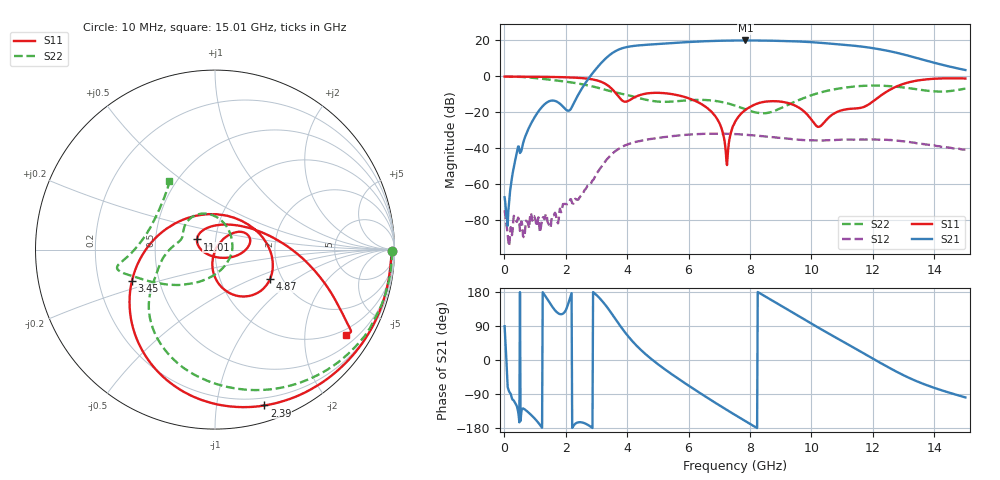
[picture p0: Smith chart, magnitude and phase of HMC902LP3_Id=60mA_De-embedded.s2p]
! Hittite Microwave Corporation
! 20 Alpha Road
! Chelmsford, MA 01824
! http://www.hittite.com
! Tel: 978-250-3343
! Fax: 978-250-3373
! Device:  HMC902LP3E
! Description: GaAs pHEMT MMIC Low Noise Amplifier
! Frequency:  5.00 -  10.00 GHz
! Package:  LP3  - 3x3 mm Quad Flatpack No-Lead (QFN) Plastic Package: 16 pin
! Ports:  2 RF, 4 DC
!  Pin  3 = RF In  = Port 1
!  Pin  5 = Vgg1 (Optional)
!  Pin  6 = Vgg2 (Optional)
!  Pin 10 = RF Out  = Port 2
!  Pin 14 = Vdd2
!  Pin 15 = Vdd1
! Voltages:  Vdd  = Vdd1 = Vdd2 = +3.50  Volts
!  Idd  = Idd1 + Idd2 = 60.30  mA
!  Vgg  = Vgg1 = Vgg2 = -0.26  Volts
!  Igg  = Igg1 + Igg2 = -0.07  mA
! Data:  The device was measured on evaluation board 128395.
!  Data was collected using a calibrated network analyzer.
!  The evaluation circuit board was modeled and simulated.  This was use
!  to removed the evaluation board circuit from the measured data.
!  The reference plane is the edge of the package pin.
! Misc:
! Date Measured:  2010-08-30
! Date:  2010-09-07 MJV
! Note:
!  Hittite supplies this data as a sample of measured data at the package pin for
!  for this package product.  Your particular data for this product may vary.
!  Data was taken at 25 degrees C.
!  Hittite reserves the right to change this data at anytime.
# GHz S MA R 50
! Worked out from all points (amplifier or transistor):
!   751 points, 10 MHz to 15.01 GHz, reference 50 ohm
!   highest |S21| = 20.0 dB at 7.85 GHz (marker M1)
!   |S21| within 3 dB of that: 4.235 GHz to 11.42 GHz (7.187 GHz wide, 91.8 % of centre)
!   unconditionally stable (mu >= 1): start of sweep to end of sweep
!   at 2.51 GHz: K = 286.80, MAG = 1.9 dB, |S12| = -66.2 dB
!   at 7.51 GHz: K = 2.10, MAG = 20.1 dB, |S12| = -32.1 dB
!   at 15.01 GHz: K = 6.37, MAG = 11.1 dB, |S12| = -40.6 dB
!   S11 on the Smith chart (normalised r, x): 10 MHz: open; 2.39 GHz: 0.13, -1.36; 3.45 GHz: 0.35, -0.16; 4.87 GHz: 1.73, -0.65; 11.01 GHz: 0.81, +0.09; 15.01 GHz: 0.80, -3.20
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0.01  0.9869 -0.4  0.000433 89.1  0.0001886 -134.6  0.9851 -0.5
2.39  0.9112 -72.4  0.2908 -164.8  0.000371 -104.5  0.635 -114.5
2.51  0.8965 -78.1  0.4367 -164.4  0.0004922 -105.2  0.6095 -119.4
3.05  0.7568 -113.9  1.872 167.6  0.002219 -85.8  0.4813 -140.0
3.45  0.4936 -159.5  4.045 127.8  0.006198 -116.4  0.3889 -152.0
4.01  0.2026 64.3  6.605 64.8  0.01268 -170.8  0.3019 -168.9
4.43  0.3045 0.1  7.338 27.9  0.01598 157.5  0.2433 177.6
4.87  0.348 -28.4  7.821 -2.8  0.01859 131.2  0.2043 167.0
5.01  0.3483 -35.1  7.969 -11.6  0.01945 123.8  0.1985 164.2
5.61  0.3036 -59.4  8.617 -46.4  0.02243 94.7  0.2032 150.8
6.33  0.1864 -84.7  9.336 -85.1  0.02486 62.9  0.222 127.2
6.89  0.07339 -101.5  9.724 -114.0  0.02545 39.5  0.2063 103.8
7.51  0.05365 53.9  9.942 -144.9  0.02474 15.8  0.1542 70.3
7.85  0.1166 45.6  9.981 -161.4  0.0238 3.8  0.1211 44.9
8.79  0.2038 17.0  9.78 153.6  0.0202 -23.2  0.1091 -64.2
9.45  0.1559 -5.3  9.45 122.4  0.01772 -37.2  0.1957 -114.9
10.01  0.06047 -49.1  8.938 95.5  0.01656 -45.2  0.301 -139.2
11.01  0.1155 150.5  7.627 49.4  0.01736 -61.3  0.475 -161.5
11.73  0.1441 74.9  6.584 16.1  0.01741 -77.4  0.5474 -167.5
12.51  0.4043 2.5  5.087 -19.6  0.01692 -98.4  0.5371 -171.7
13.69  0.8161 -27.8  2.811 -64.6  0.01284 -128.7  0.4066 171.9
15.01  0.8732 -33.0  1.501 -98.8  0.00928 -153.3  0.4574 123.8
